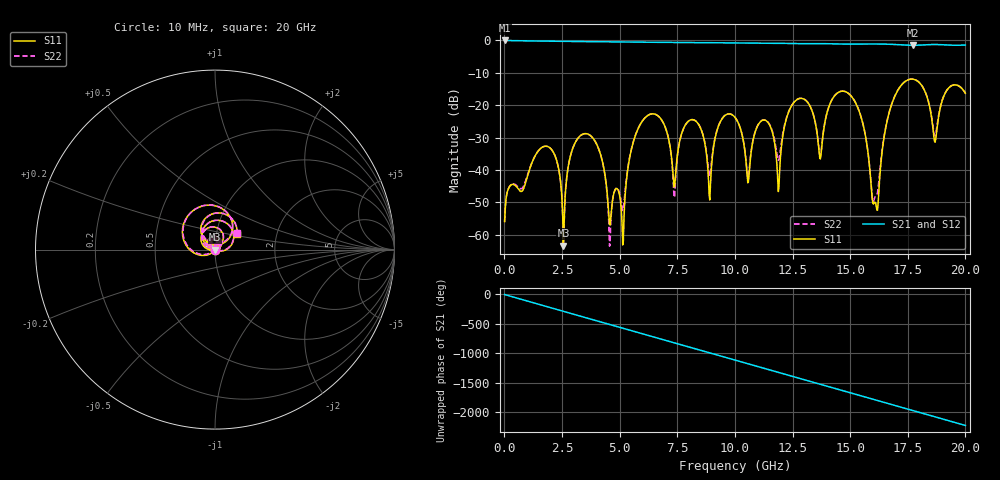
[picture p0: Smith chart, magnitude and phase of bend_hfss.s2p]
! Solver applicability map - 40 x 16 mm symmetric stripline
! Case: bend_hfss
! Sweep: 10 MHz - 20 GHz, 25 MHz step, 4 cores
# GHz S MA R 50.000000
! Terminal data exported
! Port[1] = U1.PAD1.SIG
! Port[2] = U2.PAD1.SIG
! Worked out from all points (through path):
!   801 points, 10 MHz to 20 GHz, reference 50 ohm
!   highest |S21| = -0.01 dB at 10 MHz (marker M1); lowest = -1.5 dB at 17.71 GHz (marker M2)
!   group delay of S21, straight-line fit = 308 ps
!   lowest |S11| = -63.4 dB at 2.56 GHz (marker M3), VSWR 1.00, Z = 50 - j0.0675 ohm
!   |S11| at or under -10 dB: start of sweep to end of sweep
!   |S22| runs from -63.5 to -11.9 dB; largest |S21 - S12| = 9.1e-12
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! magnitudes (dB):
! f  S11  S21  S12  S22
! 10 MHz  -56.0  0.0  0.0  -56.0
! 1.785 GHz  -32.7  -0.2  -0.2  -32.7
! 2.56 GHz  -63.4  -0.3  -0.3  -62.9
! 3.36 GHz  -29.1  -0.4  -0.4  -29.1
! 5.135 GHz  -63.2  -0.5  -0.5  -52.5
! 5.685 GHz  -29.3  -0.5  -0.5  -29.3
! 6.685 GHz  -23.4  -0.6  -0.6  -23.4
! 7.385 GHz  -45.1  -0.6  -0.6  -48.3
! 7.96 GHz  -25.1  -0.7  -0.7  -25.1
! 8.91 GHz  -49.3  -0.7  -0.7  -42.0
! 10.01 GHz  -23.8  -0.8  -0.8  -23.8
! 10.56 GHz  -44.0  -0.8  -0.8  -42.4
! 11.88 GHz  -46.7  -0.9  -0.9  -37.0
! 12.46 GHz  -20.2  -1.0  -1.0  -20.1
! 13.36 GHz  -22.0  -1.0  -1.0  -21.9
! 13.71 GHz  -36.6  -1.0  -1.0  -35.6
! 15.11 GHz  -17.8  -1.1  -1.1  -17.8
! 16.11 GHz  -50.4  -1.1  -1.1  -48.0
! 16.68 GHz  -22.5  -1.2  -1.2  -22.4
! 17.71 GHz  -12.0  -1.5  -1.5  -11.9
! 18.68 GHz  -31.4  -1.3  -1.3  -29.5
! 20 GHz  -16.3  -1.4  -1.4  -16.3
